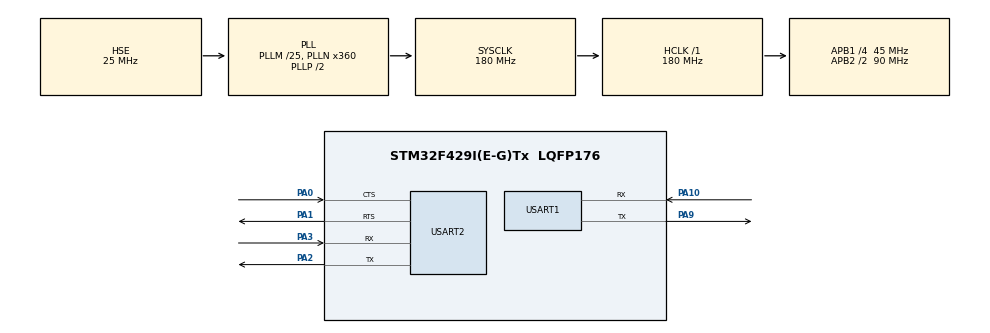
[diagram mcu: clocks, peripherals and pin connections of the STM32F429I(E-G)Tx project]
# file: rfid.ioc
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Mcu.Family=STM32F4
Mcu.Name=STM32F429I(E-G)Tx
Mcu.Package=LQFP176
NVIC.PriorityGroup=NVIC_PRIORITYGROUP_4
NVIC.USART1_IRQn=true\:0\:0\:false\:true\:true\:1\:true
NVIC.USART2_IRQn=true\:0\:0\:false\:true\:true\:2\:true
PA0/WKUP.Mode=CTS_RTS
PA0/WKUP.Signal=USART2_CTS
PA1.Mode=CTS_RTS
PA1.Signal=USART2_RTS
PA10.Mode=Asynchronous
PA10.Signal=USART1_RX
PA2.Mode=Asynchronous
PA2.Signal=USART2_TX
PA3.Mode=Asynchronous
PA3.Signal=USART2_RX
PA9.Mode=Asynchronous
PA9.Signal=USART1_TX
PH0/OSC_IN.Mode=HSE-External-Oscillator
PH0/OSC_IN.Signal=RCC_OSC_IN
PH1/OSC_OUT.Mode=HSE-External-Oscillator
PH1/OSC_OUT.Signal=RCC_OSC_OUT
ProjectManager.HeapSize=0x200
ProjectManager.StackSize=0x400
ProjectManager.TargetToolchain=MDK-ARM V5
RCC.48MHZClocksFreq_Value=90000000
RCC.AHBFreq_Value=180000000
RCC.APB1CLKDivider=RCC_HCLK_DIV4
RCC.APB1Freq_Value=45000000
RCC.APB1TimFreq_Value=90000000
RCC.APB2CLKDivider=RCC_HCLK_DIV2
RCC.APB2Freq_Value=90000000
RCC.APB2TimFreq_Value=180000000
RCC.CortexFreq_Value=180000000
RCC.HCLKFreq_Value=180000000
RCC.HSE_VALUE=25000000
RCC.HSI_VALUE=16000000
RCC.LSE_VALUE=32768
RCC.PLLM=25
RCC.PLLN=360
RCC.PLLSourceVirtual=RCC_PLLSOURCE_HSE
RCC.SYSCLKFreq_VALUE=180000000
RCC.SYSCLKSource=RCC_SYSCLKSOURCE_PLLCLK
RCC.VCOOutputFreq_Value=360000000
USART1.VirtualMode=VM_ASYNC
USART2.VirtualMode=VM_ASYNC
board=rfid

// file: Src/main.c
/**
  ******************************************************************************
  * @file           : main.c
  * @brief          : Main program body
  ******************************************************************************
  ** This notice applies to any and all portions of this file
  * that are not between comment pairs USER CODE BEGIN and
  * USER CODE END. Other portions of this file, whether
  * inserted by the user or by software development tools
  * are owned by their respective copyright owners.
  *
  * COPYRIGHT(c) 2019 STMicroelectronics
  *
  * Redistribution and use in source and binary forms, with or without modification,
  * are permitted provided that the following conditions are met:
  *   1. Redistributions of source code must retain the above copyright notice,
  *      this list of conditions and the following disclaimer.
  *   2. Redistributions in binary form must reproduce the above copyright notice,
  *      this list of conditions and the following disclaimer in the documentation
  *      and/or other materials provided with the distribution.
  *   3. Neither the name of STMicroelectronics nor the names of its contributors
  *      may be used to endorse or promote products derived from this software
  *      without specific prior written permission.
  *
  * THIS SOFTWARE IS PROVIDED BY THE COPYRIGHT HOLDERS AND CONTRIBUTORS "AS IS"
  * AND ANY EXPRESS OR IMPLIED WARRANTIES, INCLUDING, BUT NOT LIMITED TO, THE
  * IMPLIED WARRANTIES OF MERCHANTABILITY AND FITNESS FOR A PARTICULAR PURPOSE ARE
  * DISCLAIMED. IN NO EVENT SHALL THE COPYRIGHT HOLDER OR CONTRIBUTORS BE LIABLE
  * FOR ANY DIRECT, INDIRECT, INCIDENTAL, SPECIAL, EXEMPLARY, OR CONSEQUENTIAL
  * DAMAGES (INCLUDING, BUT NOT LIMITED TO, PROCUREMENT OF SUBSTITUTE GOODS OR
  * SERVICES; LOSS OF USE, DATA, OR PROFITS; OR BUSINESS INTERRUPTION) HOWEVER
  * CAUSED AND ON ANY THEORY OF LIABILITY, WHETHER IN CONTRACT, STRICT LIABILITY,
  * OR TORT (INCLUDING NEGLIGENCE OR OTHERWISE) ARISING IN ANY WAY OUT OF THE USE
  * OF THIS SOFTWARE, EVEN IF ADVISED OF THE POSSIBILITY OF SUCH DAMAGE.
  *
  ******************************************************************************
  */
#include "main.h"
#include "stm32f4xx_hal.h"

/* USER CODE BEGIN Includes */
#include<string.h>
#include "device_manager.h"
/* USER CODE END Includes */

UART_HandleTypeDef huart1;
UART_HandleTypeDef huart2;

/* USER CODE BEGIN PV */
/* Private variables ---------------------------------------------------------*/

#define user_rfid_all 50
//RFID UART 2
typedef struct
{
	uint32_t user_crc1;
	uint32_t user_crc2;
}rfid_DATA_T;

rfid_DATA_T user_rfid_data[user_rfid_all];

static int rfid_antenna_num;//0 is 1 1is other
static int rfid_antenna_num_tmp;//0 is 1 1is other

#define rfid_recvbuff_len 200
#define rfid_pack_len 200

uint8_t rfid_tmp_data=0;

uint8_t rfid_recvstart=0;
uint8_t rfid_recvend=0;

uint8_t rfid_recvbuff[rfid_recvbuff_len];
uint8_t rfid_pack[rfid_pack_len];

//??1
uint8_t cmd_set_work_antenna_1[6]={0xA0, 0x04, 0x01, 0x74 ,0x00, 0xE7};
uint8_t cmd_real_time_inventory_1[6]={0xA0 ,0x04, 0x01, 0x89 ,0x01, 0xD1};
//??2
uint8_t cmd_set_work_antenna_2[6]={0XA0, 0X04, 0X01, 0X74, 0X01, 0XE6};
uint8_t cmd_real_time_inventory_2[6]={0XA0, 0X04, 0X01, 0X89, 0X01, 0XD1};

//GPRS UART 1
typedef struct
{
	uint8_t head;
	uint8_t Command_flag;
	uint8_t Index;
	uint8_t In;
	uint8_t crc[2];
	uint8_t end;
}GPRS_DATA_T;

GPRS_DATA_T gprs_data={
	.head='{',
	.Command_flag=0x04,
	.end='}',
};
#define debug 0

#define OUT 0x0F
#define IN    0xF0

#define gprs_pack_len 200
#define gprs_recvbuff_len 200
#define gprs_sendbuff_len sizeof(GPRS_DATA_T)

uint8_t gprs_tmp_data=0;

uint8_t gprs_recvstart=0;
uint8_t gprs_recvend=0;

uint8_t firstId[12];
uint8_t secondId[12];

uint8_t gprs_recvbuff[gprs_recvbuff_len];
uint8_t gprs_pack[gprs_pack_len];

uint8_t gprs_sendbuff[gprs_sendbuff_len];
uint8_t gprs_resendbuff[gprs_sendbuff_len];

uint8_t gprs_start_cmd[5]={'{', 0x03,0x00,0x00, '}'};
uint8_t gprs_ack_ok[6]={'{',0x02,0x0f,0x00,0x00,'}'};
uint8_t gprs_ack_fail[6]={'{',0x02,0xf0,0x00,0x00,'}'};
uint8_t gprs_send_length;

uint8_t gprs_work_flag=0;
uint32_t gprs_work_num=0;

/* USER CODE END PV */

void SystemClock_Config(void);
static void MX_GPIO_Init(void);
static void MX_USART1_UART_Init(void);
static void MX_USART2_UART_Init(void);
static void MX_NVIC_Init(void);

/* USER CODE BEGIN PFP */
/* Private function prototypes -----------------------------------------------*/
void SendPack(uint8_t index,int INout);
 uint8_t  CheckSum( uint8_t *uBuff,  uint8_t uBuffLen);
void CheckRfiddata(uint8_t data);
void Checkgprsdata(uint8_t data);
int rfid_Checkonepack(uint8_t *pack);
int gprs_Checkonepack(uint8_t *pack);
uint8_t find_crc_index(uint32_t crc_data);
/* USER CODE END PFP */

/* USER CODE BEGIN 0 */
static const unsigned int crc32tab[] = {
 0x00000000L, 0x77073096L, 0xee0e612cL, 0x990951baL,
 0x076dc419L, 0x706af48fL, 0xe963a535L, 0x9e6495a3L,
 0x0edb8832L, 0x79dcb8a4L, 0xe0d5e91eL, 0x97d2d988L,
 0x09b64c2bL, 0x7eb17cbdL, 0xe7b82d07L, 0x90bf1d91L,
 0x1db71064L, 0x6ab020f2L, 0xf3b97148L, 0x84be41deL,
 0x1adad47dL, 0x6ddde4ebL, 0xf4d4b551L, 0x83d385c7L,
 0x136c9856L, 0x646ba8c0L, 0xfd62f97aL, 0x8a65c9ecL,
 0x14015c4fL, 0x63066cd9L, 0xfa0f3d63L, 0x8d080df5L,
 0x3b6e20c8L, 0x4c69105eL, 0xd56041e4L, 0xa2677172L,
 0x3c03e4d1L, 0x4b04d447L, 0xd20d85fdL, 0xa50ab56bL,
 0x35b5a8faL, 0x42b2986cL, 0xdbbbc9d6L, 0xacbcf940L,
 0x32d86ce3L, 0x45df5c75L, 0xdcd60dcfL, 0xabd13d59L,
 0x26d930acL, 0x51de003aL, 0xc8d75180L, 0xbfd06116L,
 0x21b4f4b5L, 0x56b3c423L, 0xcfba9599L, 0xb8bda50fL,
 0x2802b89eL, 0x5f058808L, 0xc60cd9b2L, 0xb10be924L,
 0x2f6f7c87L, 0x58684c11L, 0xc1611dabL, 0xb6662d3dL,
 0x76dc4190L, 0x01db7106L, 0x98d220bcL, 0xefd5102aL,
 0x71b18589L, 0x06b6b51fL, 0x9fbfe4a5L, 0xe8b8d433L,
 0x7807c9a2L, 0x0f00f934L, 0x9609a88eL, 0xe10e9818L,
 0x7f6a0dbbL, 0x086d3d2dL, 0x91646c97L, 0xe6635c01L,
 0x6b6b51f4L, 0x1c6c6162L, 0x856530d8L, 0xf262004eL,
 0x6c0695edL, 0x1b01a57bL, 0x8208f4c1L, 0xf50fc457L,
 0x65b0d9c6L, 0x12b7e950L, 0x8bbeb8eaL, 0xfcb9887cL,
 0x62dd1ddfL, 0x15da2d49L, 0x8cd37cf3L, 0xfbd44c65L,
 0x4db26158L, 0x3ab551ceL, 0xa3bc0074L, 0xd4bb30e2L,
 0x4adfa541L, 0x3dd895d7L, 0xa4d1c46dL, 0xd3d6f4fbL,
 0x4369e96aL, 0x346ed9fcL, 0xad678846L, 0xda60b8d0L,
 0x44042d73L, 0x33031de5L, 0xaa0a4c5fL, 0xdd0d7cc9L,
 0x5005713cL, 0x270241aaL, 0xbe0b1010L, 0xc90c2086L,
 0x5768b525L, 0x206f85b3L, 0xb966d409L, 0xce61e49fL,
 0x5edef90eL, 0x29d9c998L, 0xb0d09822L, 0xc7d7a8b4L,
 0x59b33d17L, 0x2eb40d81L, 0xb7bd5c3bL, 0xc0ba6cadL,
 0xedb88320L, 0x9abfb3b6L, 0x03b6e20cL, 0x74b1d29aL,
 0xead54739L, 0x9dd277afL, 0x04db2615L, 0x73dc1683L,
 0xe3630b12L, 0x94643b84L, 0x0d6d6a3eL, 0x7a6a5aa8L,
 0xe40ecf0bL, 0x9309ff9dL, 0x0a00ae27L, 0x7d079eb1L,
 0xf00f9344L, 0x8708a3d2L, 0x1e01f268L, 0x6906c2feL,
 0xf762575dL, 0x806567cbL, 0x196c3671L, 0x6e6b06e7L,
 0xfed41b76L, 0x89d32be0L, 0x10da7a5aL, 0x67dd4accL,
 0xf9b9df6fL, 0x8ebeeff9L, 0x17b7be43L, 0x60b08ed5L,
 0xd6d6a3e8L, 0xa1d1937eL, 0x38d8c2c4L, 0x4fdff252L,
 0xd1bb67f1L, 0xa6bc5767L, 0x3fb506ddL, 0x48b2364bL,
 0xd80d2bdaL, 0xaf0a1b4cL, 0x36034af6L, 0x41047a60L,
 0xdf60efc3L, 0xa867df55L, 0x316e8eefL, 0x4669be79L,
 0xcb61b38cL, 0xbc66831aL, 0x256fd2a0L, 0x5268e236L,
 0xcc0c7795L, 0xbb0b4703L, 0x220216b9L, 0x5505262fL,
 0xc5ba3bbeL, 0xb2bd0b28L, 0x2bb45a92L, 0x5cb36a04L,
 0xc2d7ffa7L, 0xb5d0cf31L, 0x2cd99e8bL, 0x5bdeae1dL,
 0x9b64c2b0L, 0xec63f226L, 0x756aa39cL, 0x026d930aL,
 0x9c0906a9L, 0xeb0e363fL, 0x72076785L, 0x05005713L,
 0x95bf4a82L, 0xe2b87a14L, 0x7bb12baeL, 0x0cb61b38L,
 0x92d28e9bL, 0xe5d5be0dL, 0x7cdcefb7L, 0x0bdbdf21L,
 0x86d3d2d4L, 0xf1d4e242L, 0x68ddb3f8L, 0x1fda836eL,
 0x81be16cdL, 0xf6b9265bL, 0x6fb077e1L, 0x18b74777L,
 0x88085ae6L, 0xff0f6a70L, 0x66063bcaL, 0x11010b5cL,
 0x8f659effL, 0xf862ae69L, 0x616bffd3L, 0x166ccf45L,
 0xa00ae278L, 0xd70dd2eeL, 0x4e048354L, 0x3903b3c2L,
 0xa7672661L, 0xd06016f7L, 0x4969474dL, 0x3e6e77dbL,
 0xaed16a4aL, 0xd9d65adcL, 0x40df0b66L, 0x37d83bf0L,
 0xa9bcae53L, 0xdebb9ec5L, 0x47b2cf7fL, 0x30b5ffe9L,
 0xbdbdf21cL, 0xcabac28aL, 0x53b39330L, 0x24b4a3a6L,
 0xbad03605L, 0xcdd70693L, 0x54de5729L, 0x23d967bfL,
 0xb3667a2eL, 0xc4614ab8L, 0x5d681b02L, 0x2a6f2b94L,
 0xb40bbe37L, 0xc30c8ea1L, 0x5a05df1bL, 0x2d02ef8dL
};

static unsigned int crc32( const unsigned char *buf, unsigned int size)
{
     unsigned int i, crc;
     crc = 0xFFFFFFFF;

     for (i = 0; i < size; i++)
      crc = crc32tab[(crc ^ buf[i]) & 0xff] ^ (crc >> 8);

     return crc^0xFFFFFFFF;
}

/* USER CODE END 0 */

int main(void)
{

  /* MCU Configuration----------------------------------------------------------*/

  /* Reset of all peripherals, Initializes the Flash interface and the Systick. */
  HAL_Init();

  /* Configure the system clock */
  SystemClock_Config();

  /* Initialize all configured peripherals */
  MX_GPIO_Init();
  MX_USART1_UART_Init();
  MX_USART2_UART_Init();

  /* Initialize interrupts */
  MX_NVIC_Init();
  /* USER CODE BEGIN 2 */
  memset(user_rfid_data,0,sizeof(rfid_DATA_T));
  dev_man_init();
  HAL_UART_Receive_IT(&huart2,(uint8_t *)&rfid_tmp_data,1);
  HAL_UART_Receive_IT(&huart1,(uint8_t *)&gprs_tmp_data,1);
  rfid_antenna_num=    0;

  HAL_UART_Transmit_IT(&huart2,(uint8_t *)cmd_set_work_antenna_1, sizeof(cmd_set_work_antenna_1));
	//HAL_UART_Transmit(&huart2,(uint8_t *)cmd_set_work_antenna_1, sizeof(cmd_set_work_antenna_1),2000);

  NDevice data;
	gprs_send_length=sizeof(gprs_start_cmd);
  memcpy(gprs_resendbuff,gprs_start_cmd,sizeof(gprs_start_cmd));
  //HAL_UART_Transmit(&huart1,(uint8_t *)gprs_start_cmd, sizeof(gprs_start_cmd),2000);
	if(debug)
	{
		printf("### start\r\n");
		//HAL_UART_Transmit_IT(&huart1,"0x01\r\n", 6);
	}
  /* USER CODE END 2 */

  /* Infinite loop */
  while (1)
  {

  /* USER CODE BEGIN 3 */

    	HAL_Delay(30);
		if(0==gprs_work_flag)
		{
			if(0==(gprs_work_num%120))
			{
				HAL_UART_Transmit(&huart1,(uint8_t *)gprs_start_cmd, sizeof(gprs_start_cmd),2000);
			}
			gprs_work_num++;
		}
  	memset(gprs_pack,0,sizeof(gprs_pack));
	if( gprs_Checkonepack(gprs_pack)>0)
	{
		if(debug)
		{
			printf("###rec data\r\n");
		}
		switch(gprs_pack[1])
		{
			case 0x01:
				if(debug)
				{
					printf("### data is 0x01\r\n");
				}
				if(0==gprs_work_flag)
				{
					gprs_work_flag=1;
				}
				user_rfid_data[gprs_pack[2]].user_crc1=(uint32_t)(*(uint32_t*)(gprs_pack+3));
				user_rfid_data[gprs_pack[2]].user_crc2=(uint32_t)(*(uint32_t*)(gprs_pack+7));
				if(debug)
				{
					printf("###index is [%d]\r\n",gprs_pack[2]);
					printf("###rec data1 is [%x] 2 is [%x]\r\n",user_rfid_data[gprs_pack[2]].user_crc1,user_rfid_data[gprs_pack[2]].user_crc2);
				}
				//HAL_UART_Transmit_IT(&huart1,gprs_ack_ok,sizeof(gprs_ack_ok) );
				HAL_UART_Transmit(&huart1,gprs_ack_ok,sizeof(gprs_ack_ok),2000 );
			break;
			case 0x02:
					if(debug)
	{
		printf("### start\r\n");
		//HAL_UART_Transmit_IT(&huart1,"0x01\r\n", 6);
	}
				if(gprs_pack[2]==0xF0)
				{
					HAL_UART_Transmit_IT(&huart1,(uint8_t *)gprs_resendbuff, gprs_send_length);
				}

			break;
		}
	}

	memset(rfid_pack,0,sizeof(rfid_pack));
	if( rfid_Checkonepack(rfid_pack)>0)
	{
		switch(rfid_pack[3])
		{
			case 0x74:
			if(rfid_pack[4]==0x10)
			{
				if(rfid_antenna_num)
				{
					 HAL_UART_Transmit_IT(&huart2,(uint8_t *)cmd_real_time_inventory_2, sizeof(cmd_real_time_inventory_2));

				}
				else
				{

					 HAL_UART_Transmit_IT(&huart2,(uint8_t *)cmd_real_time_inventory_1, sizeof(cmd_real_time_inventory_1));
				}
			}
			else
			{
				if(rfid_antenna_num)
				{
					 HAL_UART_Transmit_IT(&huart2,(uint8_t *)cmd_real_time_inventory_2, sizeof(cmd_real_time_inventory_2));
				}
				else
				{

						 HAL_UART_Transmit_IT(&huart2,(uint8_t *)cmd_real_time_inventory_1, sizeof(cmd_real_time_inventory_1));
				}
			}
			break;
			case 0x89:
			if(rfid_pack[1]==0x0A)
			{

				if(rfid_antenna_num)
				{
					rfid_antenna_num=0;
					 HAL_UART_Transmit_IT(&huart2,(uint8_t *)cmd_set_work_antenna_1, sizeof(cmd_set_work_antenna_1));
				}
				else
				{
					rfid_antenna_num=1;
					 HAL_UART_Transmit_IT(&huart2,(uint8_t *)cmd_set_work_antenna_2, sizeof(cmd_set_work_antenna_1));
				}

			}
			else if(rfid_pack[1]==0x04)
			{
				if(rfid_antenna_num)
				{
					rfid_antenna_num=0;
					 HAL_UART_Transmit_IT(&huart2,(uint8_t *)cmd_set_work_antenna_1, sizeof(cmd_set_work_antenna_1));
				}
				else
				{
					rfid_antenna_num=1;
					 HAL_UART_Transmit_IT(&huart2,(uint8_t *)cmd_set_work_antenna_2, sizeof(cmd_set_work_antenna_1));
				}
			}
			else
			{

				if(rfid_antenna_num)
				{
						rfid_antenna_num_tmp=0;
				}
				else
				{
					rfid_antenna_num_tmp=1;
				}
				uint32_t crc_data_tmp;
				uint8_t crc_data_array[1];
				uint8_t user_index;
				crc_data_tmp=crc32(rfid_pack+7, 12);
				if(debug)
				{
				printf("###crc_data_tmp is [%x] \r\n",crc_data_tmp);
				}
				user_index=find_crc_index(crc_data_tmp);
				if(debug)
				{
					printf("###user_index is [%d]\r\n",user_index);
				}

				if(0xff!=user_index)
				{
					crc_data_array[0]=user_index;
					if(0==dev_man_get_device_by_id(rfid_antenna_num,( uint8_t *)crc_data_array,&data))
					{
						if(0==dev_man_get_device_by_id(rfid_antenna_num_tmp,( uint8_t *)crc_data_array,&data))
						{
						dev_man_del_by_id(rfid_antenna_num,( uint8_t *)crc_data_array);
						dev_man_del_by_id(rfid_antenna_num_tmp,( uint8_t *)crc_data_array);
						//send gprs
						SendPack(user_index,rfid_antenna_num);
						if(debug)
						{
							printf("### SendPack\r\n");
						}

						}
					}
					else
					{
						if(debug)
						{
							printf("#####add\r\n");
						}
					memcpy(data.id,( uint8_t *)crc_data_array,1);
					dev_man_add(rfid_antenna_num, data);

					}
				}

			}
			break;
		}
	}
	else
	{

	}
 }

  /* USER CODE END 3 */

}

void SystemClock_Config(void)
{

  RCC_OscInitTypeDef RCC_OscInitStruct;
  RCC_ClkInitTypeDef RCC_ClkInitStruct;

    /**Configure the main internal regulator output voltage
    */
  __HAL_RCC_PWR_CLK_ENABLE();

  __HAL_PWR_VOLTAGESCALING_CONFIG(PWR_REGULATOR_VOLTAGE_SCALE1);

    /**Initializes the CPU, AHB and APB busses clocks
    */
  RCC_OscInitStruct.OscillatorType = RCC_OSCILLATORTYPE_HSE;
  RCC_OscInitStruct.HSEState = RCC_HSE_ON;
  RCC_OscInitStruct.PLL.PLLState = RCC_PLL_ON;
  RCC_OscInitStruct.PLL.PLLSource = RCC_PLLSOURCE_HSE;
  RCC_OscInitStruct.PLL.PLLM = 25;
  RCC_OscInitStruct.PLL.PLLN = 360;
  RCC_OscInitStruct.PLL.PLLP = RCC_PLLP_DIV2;
  RCC_OscInitStruct.PLL.PLLQ = 4;
  if (HAL_RCC_OscConfig(&RCC_OscInitStruct) != HAL_OK)
  {
    _Error_Handler(__FILE__, __LINE__);
  }

    /**Activate the Over-Drive mode
    */
  if (HAL_PWREx_EnableOverDrive() != HAL_OK)
  {
    _Error_Handler(__FILE__, __LINE__);
  }

    /**Initializes the CPU, AHB and APB busses clocks
    */
  RCC_ClkInitStruct.ClockType = RCC_CLOCKTYPE_HCLK|RCC_CLOCKTYPE_SYSCLK
                              |RCC_CLOCKTYPE_PCLK1|RCC_CLOCKTYPE_PCLK2;
  RCC_ClkInitStruct.SYSCLKSource = RCC_SYSCLKSOURCE_PLLCLK;
  RCC_ClkInitStruct.AHBCLKDivider = RCC_SYSCLK_DIV1;
  RCC_ClkInitStruct.APB1CLKDivider = RCC_HCLK_DIV4;
  RCC_ClkInitStruct.APB2CLKDivider = RCC_HCLK_DIV2;

  if (HAL_RCC_ClockConfig(&RCC_ClkInitStruct, FLASH_LATENCY_5) != HAL_OK)
  {
    _Error_Handler(__FILE__, __LINE__);
  }

    /**Configure the Systick interrupt time
    */
  HAL_SYSTICK_Config(HAL_RCC_GetHCLKFreq()/1000);

    /**Configure the Systick
    */
  HAL_SYSTICK_CLKSourceConfig(SYSTICK_CLKSOURCE_HCLK);

  /* SysTick_IRQn interrupt configuration */
  HAL_NVIC_SetPriority(SysTick_IRQn, 0, 0);
}

/**
  * @brief NVIC Configuration.
  * @retval None
  */
static void MX_NVIC_Init(void)
{
  /* USART1_IRQn interrupt configuration */
  HAL_NVIC_SetPriority(USART1_IRQn, 0, 0);
  HAL_NVIC_EnableIRQ(USART1_IRQn);
  /* USART2_IRQn interrupt configuration */
  HAL_NVIC_SetPriority(USART2_IRQn, 0, 0);
  HAL_NVIC_EnableIRQ(USART2_IRQn);
}

/* USART1 init function */
static void MX_USART1_UART_Init(void)
{

  huart1.Instance = USART1;
  huart1.Init.BaudRate = 115200;
  huart1.Init.WordLength = UART_WORDLENGTH_8B;
  huart1.Init.StopBits = UART_STOPBITS_1;
  huart1.Init.Parity = UART_PARITY_NONE;
  huart1.Init.Mode = UART_MODE_TX_RX;
  huart1.Init.HwFlowCtl = UART_HWCONTROL_NONE;
  huart1.Init.OverSampling = UART_OVERSAMPLING_16;
  if (HAL_UART_Init(&huart1) != HAL_OK)
  {
    _Error_Handler(__FILE__, __LINE__);
  }

}

/* USART2 init function */
static void MX_USART2_UART_Init(void)
{

  huart2.Instance = USART2;
  huart2.Init.BaudRate = 115200;
  huart2.Init.WordLength = UART_WORDLENGTH_8B;
  huart2.Init.StopBits = UART_STOPBITS_1;
  huart2.Init.Parity = UART_PARITY_NONE;
  huart2.Init.Mode = UART_MODE_TX_RX;
  huart2.Init.HwFlowCtl = UART_HWCONTROL_NONE;
  huart2.Init.OverSampling = UART_OVERSAMPLING_16;
  if (HAL_UART_Init(&huart2) != HAL_OK)
  {
    _Error_Handler(__FILE__, __LINE__);
  }

}

/** Configure pins as
        * Analog
        * Input
        * Output
        * EVENT_OUT
        * EXTI
*/
static void MX_GPIO_Init(void)
{

  /* GPIO Ports Clock Enable */
  __HAL_RCC_GPIOH_CLK_ENABLE();
  __HAL_RCC_GPIOA_CLK_ENABLE();

}

/* USER CODE BEGIN 4 */
#ifdef __GNUC__
#define PUTCHAR_PROTOTYPE int __io_putchar(int ch)
#else
#define PUTCHAR_PROTOTYPE int fputc(int ch, FILE *f)
#endif
PUTCHAR_PROTOTYPE
{
	 HAL_UART_Transmit(&huart1 , (uint8_t *)&ch, 1, 2000);
	return ch;
}

void SendPack(uint8_t index,int INout)
{

	if(INout)
	{
		gprs_data.In=OUT;
	}
	else
	{
		gprs_data.In=IN;
	}
	gprs_data.Index=index;
	//crc
	gprs_data.crc[0]=0;
	gprs_data.crc[1]=0;
	//data_buf
	gprs_send_length=sizeof(GPRS_DATA_T);
	memcpy(gprs_sendbuff,&gprs_data,gprs_send_length);
	memcpy(gprs_resendbuff,gprs_sendbuff,gprs_send_length);
	HAL_UART_Transmit_IT(&huart1,(uint8_t *)gprs_sendbuff, gprs_send_length);
}
uint8_t find_crc_index(uint32_t crc_data)
{
	uint8_t i;
	for(i=0;i<user_rfid_all;i++)
	{
		if(debug)
		{
			printf("find_crc_index\r\n");
			printf("user_crc1 is [%x]\r\n",user_rfid_data[i].user_crc1);
			printf("user_crc2 is [%x]\r\n",user_rfid_data[i].user_crc2);
			printf("crc_data is [%x]\r\n",crc_data);
		}

		if((user_rfid_data[i].user_crc1==crc_data)||(user_rfid_data[i].user_crc2==crc_data))
		{
			return i;
		}
	}
	return 0xff;
}
void HAL_UART_RxCpltCallback(UART_HandleTypeDef *huart)
{
	if(huart==&huart1)
	{
		Checkgprsdata(gprs_tmp_data);
		HAL_UART_Receive_IT(&huart1,(uint8_t *)&gprs_tmp_data,1);
		//gprs_recv_flag=1;
	}
	else if(huart==&huart2)
	{

		{
			CheckRfiddata(rfid_tmp_data);
			HAL_UART_Receive_IT(&huart2,(uint8_t *)&rfid_tmp_data,1);
		}
	}
  /* Prevent unused argument(s) compilation warning */

  /* NOTE: This function Should not be modified, when the callback is needed,
           the HAL_UART_RxCpltCallback could be implemented in the user file
   */
}

 uint8_t  CheckSum( uint8_t *uBuff,  uint8_t uBuffLen)
{
	uint8_t i,uSum=0;
	for(i=0;i<uBuffLen;i++)
	{
		uSum = uSum + uBuff[i];
	}
	uSum = (~uSum) + 1;
	return uSum;
}
void CheckRfiddata(uint8_t data)
{
	rfid_recvbuff[rfid_recvend]=data;
	if(rfid_recvend==(rfid_recvbuff_len-1))
	{
		rfid_recvend=0;
	}
	else
	{
		rfid_recvend++;
	}
}
void Checkgprsdata(uint8_t data)
{
	gprs_recvbuff[gprs_recvend]=data;
	if(gprs_recvend==(gprs_recvbuff_len-1))
	{
		gprs_recvend=0;
	}
	else
	{
		gprs_recvend++;
	}
}
int rfid_Checkonepack(uint8_t *pack)
{
	int length=0;
	if(rfid_recvstart!=rfid_recvend)
	{
		while((rfid_recvbuff[rfid_recvstart]!=0xA0)&&(rfid_recvstart!=rfid_recvend))
		{
			if(rfid_recvstart==rfid_recvbuff_len)
			{
				rfid_recvstart=0;
			}
			else
			{
				rfid_recvstart++;
			}
		}
		if(rfid_recvend>rfid_recvstart)
		{

			length=rfid_recvend-rfid_recvstart;
			if(length>2)
			{
				if(length>=rfid_recvbuff[rfid_recvstart+1]+2)
				{
					memcpy(pack,&rfid_recvbuff[rfid_recvstart],rfid_recvbuff[rfid_recvstart+1]+2);
					rfid_recvstart=rfid_recvstart+rfid_recvbuff[rfid_recvstart+1]+2;
				}
				else goto ret;

			}
			else goto ret;
		}
		else if(rfid_recvstart>rfid_recvend)
		{
			length=rfid_recvbuff_len-rfid_recvstart+rfid_recvend+1;
			if(length>2)
			{
				if(rfid_recvstart==rfid_recvbuff_len-1)
				{
					if(length>=rfid_recvbuff[0]+2)
					{
						memcpy(pack,&rfid_recvbuff[rfid_recvstart],1);
						memcpy(pack+1,&rfid_recvbuff[0],rfid_recvbuff[0]+1);
						rfid_recvstart=rfid_recvbuff[0]+1;
					}
					else goto ret;
				}
				else
				{
					if(length>=rfid_recvbuff[rfid_recvstart+1]+2)
					{
						if((rfid_recvbuff_len-rfid_recvstart)<rfid_recvbuff[rfid_recvstart+1]+2)
						{

							memcpy(pack,&rfid_recvbuff[rfid_recvstart],rfid_recvbuff_len-rfid_recvstart);
							memcpy(pack+(rfid_recvbuff_len-rfid_recvstart),&rfid_recvbuff[0],rfid_recvbuff[rfid_recvstart+1]+2-(rfid_recvbuff_len-rfid_recvstart));

							rfid_recvstart=rfid_recvbuff[rfid_recvstart+1]+2-(rfid_recvbuff_len-rfid_recvstart);
						}
						else if((rfid_recvbuff_len-rfid_recvstart)>=rfid_recvbuff[rfid_recvstart+1]+2)
						{
							memcpy(pack,&rfid_recvbuff[rfid_recvstart],rfid_recvbuff[rfid_recvstart+1]+2);
							rfid_recvstart=rfid_recvstart+rfid_recvbuff[rfid_recvstart+1]+2;
						}
					}
					else goto ret;
				}
			}
			else goto ret;
		}

		if(CheckSum(( uint8_t *)pack,pack[1]+1)==pack[pack[1]+1])
		{
			return pack[1]+2;
		}

	}

ret:
	return 0;

}

int gprs_Checkonepack(uint8_t *pack)
{
	int length=0;
	if(gprs_recvstart!=gprs_recvend)
	{
		while((gprs_recvbuff[gprs_recvstart]!='{')&&(gprs_recvstart!=gprs_recvend))
		{
			if(gprs_recvstart==gprs_recvbuff_len)
			{
				gprs_recvstart=0;
			}
			else
			{
				gprs_recvstart++;
			}
		}
		if(gprs_recvend>gprs_recvstart)
		{

			length=gprs_recvend-gprs_recvstart;
			if(length>2)
			{
				switch(gprs_recvbuff[gprs_recvstart+1])
				{
					case 0x01:
						if(length>=14)
						{
						memcpy(pack,&gprs_recvbuff[gprs_recvstart],14);
						gprs_recvstart=gprs_recvstart+14;
						}
						else goto ret;
					break;
					case 0x02:
						if(length>=6)
						{
						memcpy(pack,&gprs_recvbuff[gprs_recvstart],6);
						gprs_recvstart=gprs_recvstart+6;
						}
						else goto ret;
					break;
				}

			}
			else goto ret;
		}
		else if(gprs_recvstart>gprs_recvend)
		{
			length=gprs_recvbuff_len-gprs_recvstart+gprs_recvend+1;
			if(length>2)
			{
				if(gprs_recvstart==gprs_recvbuff_len-1)
				{
					switch(gprs_recvbuff[0])
					{
						case 0x01:
							if(length>=14)
							{
							memcpy(pack,&gprs_recvbuff[gprs_recvstart],1);
							memcpy(pack+1,&gprs_recvbuff[0],13);
							gprs_recvstart=13;
							}
							else goto ret;
						break;
						case 0x02:
							if(length>=6)
							{
							memcpy(pack,&gprs_recvbuff[gprs_recvstart],1);
							memcpy(pack+1,&gprs_recvbuff[0],5);
							gprs_recvstart=5;
							}
							else goto ret;
						break;
					}
				}
				else
				{

					switch(gprs_recvbuff[gprs_recvstart+1])
					{
						case 0x01:
							if(length>=14)
							{
								if((gprs_recvbuff_len-gprs_recvstart)<14)
								{

									memcpy(pack,&gprs_recvbuff[gprs_recvstart],gprs_recvbuff_len-gprs_recvstart);
									memcpy(pack+(gprs_recvbuff_len-gprs_recvstart),&rfid_recvbuff[0],14-(gprs_recvbuff_len-gprs_recvstart));

									gprs_recvstart=14-(gprs_recvbuff_len-gprs_recvstart);
								}
								else if((gprs_recvbuff_len-gprs_recvstart)>=14)
								{
									memcpy(pack,&gprs_recvbuff[gprs_recvstart],14);
									gprs_recvstart=gprs_recvstart+14;
								}
							}
							else goto ret;
						break;
						case 0x02:
							if(length>=6)
							{
								if((gprs_recvbuff_len-gprs_recvstart)<6)
								{

									memcpy(pack,&gprs_recvbuff[gprs_recvstart],gprs_recvbuff_len-gprs_recvstart);
									memcpy(pack+(gprs_recvbuff_len-gprs_recvstart),&gprs_recvbuff[0],6-(gprs_recvbuff_len-gprs_recvstart));

									gprs_recvstart=6-(gprs_recvbuff_len-gprs_recvstart);
								}
								else if((gprs_recvbuff_len-gprs_recvstart)>=6)
								{
									memcpy(pack,&gprs_recvbuff[gprs_recvstart],6);
									gprs_recvstart=gprs_recvstart+6;
								}
							}
							else goto ret;
						break;
					}
				}
			}
			else goto ret;
		}

		if(pack[1]==0x01)
		{
			return 14;
		}
		else
		{
			return 6;
		}

	}

ret:
	return 0;

}
/* USER CODE END 4 */

void _Error_Handler(char *file, int line)
{
  while(1)
  {
  }
}

/************************ (C) COPYRIGHT STMicroelectronics *****END OF FILE****/
